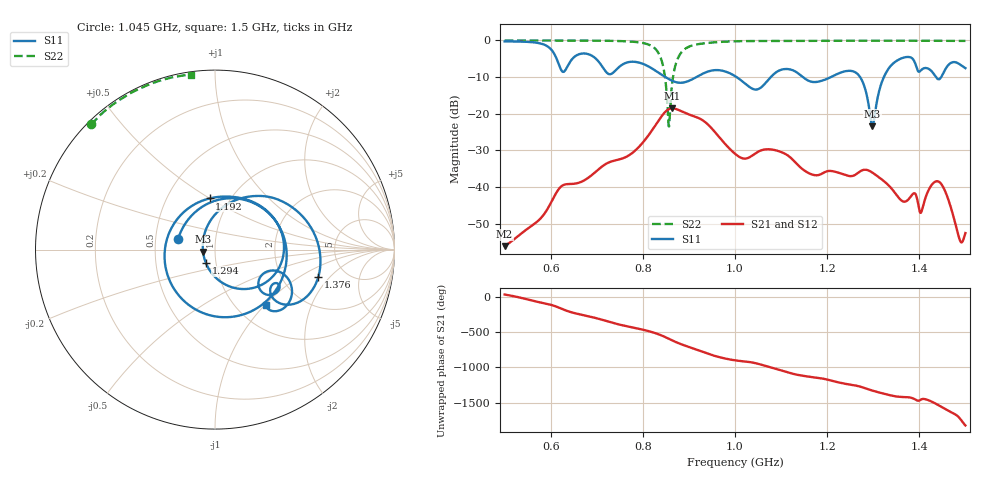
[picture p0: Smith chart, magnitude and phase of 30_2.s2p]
! TOUCHSTONE file generated by CST MICROWAVE STUDIO
! Date and time: Thu Feb 11 19:35:04 2021
! Project name: Scenario_1_Planar_Body_Tissue_Out_of_Line.cst
! Parameters = {L_HA=400; Ltissue=1000; MT=2.54; Rad_Dielectric=30; Rad_Lower=7.3; Rad_Upper=30; Wtissue=1000; a_HA=580; a_WG=246; b_HA=500; b_WG=121; c_HA=0; c_WG=187; d_feed=85; dx1=346; dy1=155.7; h_feed=15; h_lower=18; h_upper=40; hfat=3; hgap=25; hmuscle=50; hskin=1.5}
! Header version: 2018
! Port assignment regex: !\s*Touchstone port\s*([0-9]+)\s*=\s*(CST MWS port|CST DS port)\s*([0-9]+|Zmin|Zmax)\s*\(\"(.*)\"\)(\s*mode\s*([0-9]+))?.*
! Touchstone port assignment:
! Touchstone port 1 = CST MWS port 1 ("")
! Touchstone port 2 = CST MWS port 2 ("")
# GHz S DB R 50
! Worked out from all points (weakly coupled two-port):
!   1003 points, 500 MHz to 1.5 GHz, reference 50 ohm
!   highest |S21| = -18.53 dB at 864 MHz (marker M1); lowest = -56.1 dB at 500 MHz (marker M2)
!   lowest |S11| = -23.4 dB at 1.298 GHz (marker M3), VSWR 1.15, Z = 43.7 - j1.05 ohm
!   |S11| at or under -10 dB: 848.9 MHz to 916.2 MHz (67.32 MHz wide, 7.63 % of centre); 1.003 GHz to 1.078 GHz (74.33 MHz wide, 7.14 % of centre); 1.147 GHz to 1.208 GHz (60.74 MHz wide, 5.16 % of centre) (the widest 3 of 5)
!   |S22| runs from -23.5 to 0.0 dB; largest |S21 - S12| = 1.5e-05
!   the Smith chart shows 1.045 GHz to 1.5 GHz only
!   S11 on the Smith chart (normalised r, x): 1.045 GHz: 0.66, +0.08; 1.192 GHz: 0.80, +0.50; 1.294 GHz: 0.89, -0.14; 1.376 GHz: 3.19, -1.48; 1.5 GHz: 1.36, -1.01
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0.5  -0.27 -121.6  -56.14 28.0  -56.14 28.0  -0.01 151.1
0.667  -3.60 156.1  -38.55 103.1  -38.55 103.1  -0.04 138.3
0.717  -8.07 22.4  -33.91 22.2  -33.91 22.2  -0.09 132.6
0.741  -8.15 -99.2  -32.72 -22.3  -32.72 -22.3  -0.14 129.0
0.769  -5.91 175.3  -31.42 -63.5  -31.42 -63.5  -0.27 123.2
0.834  -8.81 27.8  -21.89 -171.7  -21.89 -171.7  -3.45 81.9
0.855  -10.43 -28.7  -18.85 129.0  -18.85 129.0  -21.28 -3.0
0.864  -11.02 -55.4  -18.53 100.9  -18.53 100.9  -11.30 -140.5
0.939  -8.59 83.1  -22.68 -80.9  -22.68 -80.9  -0.71 151.3
1  -9.73 -66.2  -30.92 -179.1  -30.92 -179.1  -0.23 140.2
1.045  -13.41 164.1  -30.74 140.0  -30.74 140.0  -0.17 134.7
1.102  -7.94 -5.1  -30.55 34.7  -30.55 34.7  -0.12 129.5
1.131  -8.48 -85.9  -33.29 -17.1  -33.29 -17.1  -0.11 127.0
1.167  -11.30 161.7  -36.58 -55.3  -36.58 -55.3  -0.10 124.1
1.192  -10.85 96.1  -36.13 -78.2  -36.13 -78.3  -0.09 122.2
1.263  -8.85 -22.0  -36.51 -176.0  -36.51 -176.0  -0.08 116.8
1.294  -20.88 -124.0  -35.75 122.5  -35.75 122.5  -0.09 114.5
1.298  -23.39 -169.8  -36.05 114.5  -36.05 114.5  -0.09 114.2
1.334  -7.56 44.6  -39.62 53.1  -39.62 53.1  -0.08 111.5
1.376  -4.50 -14.6  -43.43 20.9  -43.43 20.9  -0.09 108.2
1.443  -10.59 -29.7  -38.60 -97.6  -38.60 -97.6  -0.11 102.8
1.5  -7.56 -47.4  -52.56 -17.0  -52.56 -17.0  -0.13 97.9
